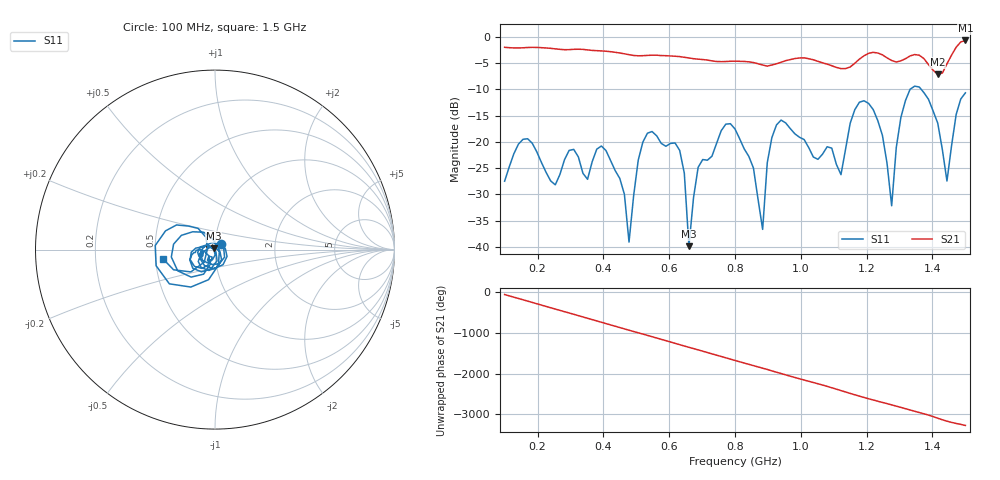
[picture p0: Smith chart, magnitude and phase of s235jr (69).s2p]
! NanoVNA-App
! Date: 2025-09-25 15:04:42
! Start: 100MHz Stop: 1,5GHz Points: 101
! S-Parameter data: F S11 S21 S12 S22
# Hz S RI R 50
!  Frequency  S11_Real  S11_Imag  S21_Real  S21_Imag  S12_Real  S12_Imag  S22_Real  S22_Imag
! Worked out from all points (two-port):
!   101 points, 100 MHz to 1.5 GHz, reference 50 ohm
!   highest |S21| = -0.66 dB at 1.5 GHz (marker M1); lowest = -7.1 dB at 1.416 GHz (marker M2)
!   |S21| within 3 dB of the highest: start of sweep to 616.3 MHz; 1.19 GHz to 1.254 GHz (64.04 MHz wide, 5.24 % of centre) (the widest 2 of 4)
!   lowest |S11| = -39.9 dB at 660 MHz (marker M3), VSWR 1.02, Z = 49.2 + j0.646 ohm
!   |S11| at or under -10 dB: start of sweep to 1.332 GHz; 1.366 GHz to end of sweep
!   S12 and S22 are empty: the file has one direction only
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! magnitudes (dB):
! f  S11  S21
! 100 MHz  -27.5  -2.0
! 170 MHz  -19.4  -2.0
! 338 MHz  -26.0  -2.4
! 408 MHz  -21.6  -2.7
! 478 MHz  -39.1  -3.4
! 520 MHz  -20.0  -3.6
! 576 MHz  -20.3  -3.5
! 632 MHz  -21.6  -3.7
! 660 MHz  -39.9  -4.0
! 688 MHz  -24.8  -4.2
! 800 MHz  -17.5  -4.6
! 884 MHz  -36.7  -5.3
! 898 MHz  -24.0  -5.6
! 926 MHz  -16.8  -5.1
! 1.038 GHz  -22.9  -4.3
! 1.122 GHz  -26.2  -6.0
! 1.206 GHz  -12.7  -3.1
! 1.276 GHz  -32.2  -4.5
! 1.332 GHz  -10.0  -3.6
! 1.416 GHz  -16.4  -7.1
! 1.444 GHz  -27.5  -5.1
! 1.5 GHz  -10.6  -0.7
